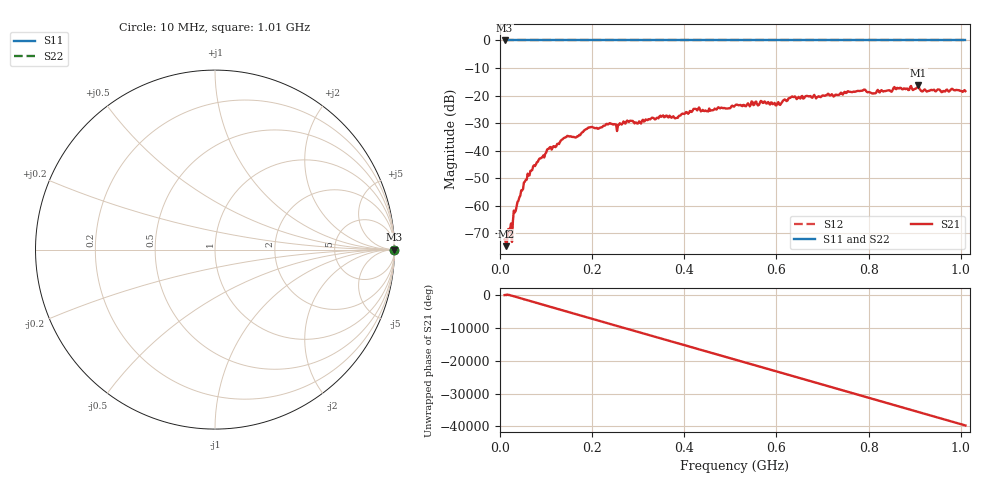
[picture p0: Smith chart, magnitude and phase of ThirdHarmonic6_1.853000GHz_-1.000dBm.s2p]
! 8/16/2025 10:25:14 PM
! C:\ANRITSUVNA\TEMP\TEMP.S2P
! CHANNEL.1
! TR.MEASUREMENT
! RAW.DATA
! RF.CORRECTION.OFF
! AVERAGING.OFF
! IF.BANDWIDTH: 5KHZ
! SWEEPTYPE:  FREQ.SWEEP(Linear)
! Reference Plane Port Info
! PORT:  PORT1  PORT2
! DISTANCE:  0  m  0  m
! TIME:  0  s  0  s
! PHASE.OFFSET:  0  deg.  0  deg.
! LOSS:  0  dB  0  dB
! REF.LOSS:  0  dB  0  dB
! REF.FREQ:  0  Hz  0  Hz
! Power Info
! POWER:  -20  dBm  -20  dBm
! EFF.POWER:  -20  dBm  -20  dBm
! SOURCE.ATTEN:  0  dB  0  dB
! TEST.ATTEN:  0  dB  0  dB
# GHZ S RI R 50.0
! FREQ.GHZ  S11RE  S11IM  S21RE  S21IM  S12RE  S12IM  S22RE  S22IM
!; PortSelection: Port_12
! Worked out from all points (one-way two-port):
!   501 points, 10 MHz to 1.01 GHz, reference 50 ohm
!   highest |S21| = -16.26 dB at 908 MHz (marker M1); lowest = -74.6 dB at 14 MHz (marker M2)
!   lowest |S11| = 0.0 dB at 10 MHz (marker M3)
!   |S11| at or under -10 dB: nowhere
!   |S22| runs from 0.0 to 0.0 dB; largest |S21 - S12| = 1.1
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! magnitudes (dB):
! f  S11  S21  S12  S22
! 10 MHz  0.0  -72.2  0.0  0.0
! 14 MHz  0.0  -74.6  0.0  0.0
! 20 MHz  0.0  -69.5  0.0  0.0
! 24 MHz  0.0  -66.4  0.0  0.0
! 34 MHz  0.0  -61.9  0.0  0.0
! 50 MHz  0.0  -53.9  0.0  0.0
! 70 MHz  0.0  -47.0  0.0  0.0
! 106 MHz  0.0  -39.3  0.0  0.0
! 144 MHz  0.0  -35.0  0.0  0.0
! 178 MHz  0.0  -33.4  0.0  0.0
! 196 MHz  0.0  -31.4  0.0  0.0
! 344 MHz  0.0  -28.3  0.0  0.0
! 382 MHz  0.0  -28.1  0.0  0.0
! 422 MHz  0.0  -24.8  0.0  0.0
! 448 MHz  0.0  -25.7  0.0  0.0
! 510 MHz  0.0  -23.6  0.0  0.0
! 604 MHz  0.0  -22.4  0.0  0.0
! 636 MHz  0.0  -20.5  0.0  0.0
! 678 MHz  0.0  -20.8  0.0  0.0
! 844 MHz  0.0  -18.1  0.0  0.0
! 908 MHz  0.0  -16.3  0.0  0.0
! 1.01 GHz  0.0  -18.4  0.0  0.0
